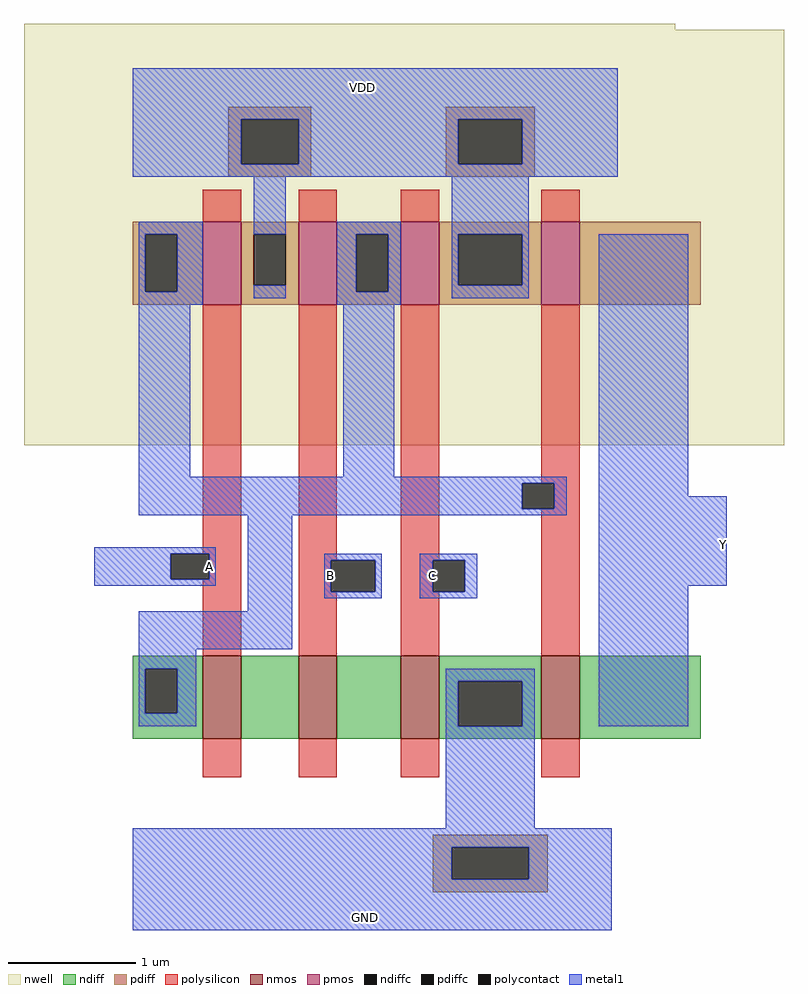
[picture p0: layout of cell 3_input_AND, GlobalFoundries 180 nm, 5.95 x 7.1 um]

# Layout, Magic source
magic
tech gf180mcuD
magscale 1 10
<< nwell >>
rect -430 460 590 470
rect -430 -190 760 460
<< nmos >>
rect -150 -650 -90 -520
rect 0 -650 60 -520
rect 160 -650 220 -520
rect 380 -650 440 -520
<< pmos >>
rect -150 30 -90 160
rect 0 30 60 160
rect 160 30 220 160
rect 380 30 440 160
<< ndiff >>
rect -260 -540 -150 -520
rect -260 -610 -240 -540
rect -190 -610 -150 -540
rect -260 -650 -150 -610
rect -90 -650 0 -520
rect 60 -650 160 -520
rect 220 -560 380 -520
rect 220 -630 250 -560
rect 350 -630 380 -560
rect 220 -650 380 -630
rect 440 -650 630 -520
<< pdiff >>
rect -110 320 20 340
rect -110 250 -90 320
rect 0 250 20 320
rect -110 230 20 250
rect 230 320 370 340
rect 230 250 250 320
rect 350 250 370 320
rect 230 230 370 250
rect -260 140 -150 160
rect -260 50 -240 140
rect -190 50 -150 140
rect -260 30 -150 50
rect -90 140 0 160
rect -90 60 -70 140
rect -20 60 0 140
rect -90 30 0 60
rect 60 140 160 160
rect 60 50 90 140
rect 140 50 160 140
rect 60 30 160 50
rect 220 140 380 160
rect 220 60 250 140
rect 350 60 380 140
rect 220 30 380 60
rect 440 30 630 160
rect 210 -820 390 -800
rect 210 -870 240 -820
rect 360 -870 390 -820
rect 210 -890 390 -870
<< ndiffc >>
rect -240 -610 -190 -540
rect 250 -630 350 -560
<< pdiffc >>
rect -90 250 0 320
rect 250 250 350 320
rect -240 50 -190 140
rect -70 60 -20 140
rect 90 50 140 140
rect 250 60 350 140
rect 240 -870 360 -820
<< polysilicon >>
rect -150 160 -90 210
rect 0 160 60 210
rect 160 160 220 210
rect 380 160 440 210
rect -150 -360 -90 30
rect -140 -400 -90 -360
rect -150 -520 -90 -400
rect 0 -370 60 30
rect 160 -370 220 30
rect 380 -250 440 30
rect 400 -290 440 -250
rect 0 -420 50 -370
rect 160 -420 210 -370
rect 0 -520 60 -420
rect 160 -520 220 -420
rect 380 -520 440 -290
rect -150 -710 -90 -650
rect 0 -710 60 -650
rect 160 -710 220 -650
rect 380 -710 440 -650
<< polycontact >>
rect -200 -400 -140 -360
rect 350 -290 400 -250
rect 50 -420 120 -370
rect 210 -420 260 -370
<< metal1 >>
rect -260 320 500 400
rect -260 250 -90 320
rect 0 250 250 320
rect 350 250 500 320
rect -260 230 500 250
rect -250 140 -150 160
rect -250 50 -240 140
rect -190 50 -150 140
rect -250 30 -150 50
rect -70 140 -20 230
rect -70 40 -20 60
rect 60 140 160 160
rect 60 50 90 140
rect 140 50 160 140
rect 60 30 160 50
rect 240 140 360 230
rect 240 60 250 140
rect 350 60 360 140
rect 240 40 360 60
rect -250 -240 -170 30
rect 70 -240 150 30
rect -250 -250 420 -240
rect -250 -290 350 -250
rect 400 -290 420 -250
rect -250 -300 420 -290
rect 470 -270 610 140
rect -320 -360 -130 -350
rect -320 -400 -200 -360
rect -140 -400 -130 -360
rect -320 -410 -130 -400
rect -80 -450 -10 -300
rect 40 -370 130 -360
rect 40 -420 50 -370
rect 120 -420 130 -370
rect 40 -430 130 -420
rect 190 -370 280 -360
rect 190 -420 210 -370
rect 260 -420 280 -370
rect 190 -430 280 -420
rect 470 -410 670 -270
rect -250 -510 -10 -450
rect -250 -540 -160 -510
rect -250 -610 -240 -540
rect -190 -610 -160 -540
rect -250 -630 -160 -610
rect 230 -560 370 -540
rect 230 -630 250 -560
rect 350 -630 370 -560
rect 470 -630 610 -410
rect 230 -790 370 -630
rect -260 -820 490 -790
rect -260 -870 240 -820
rect 360 -870 490 -820
rect -260 -950 490 -870
<< labels >>
flabel metal1 -80 370 280 370 0 FreeSans 480 0 0 0 VDD
flabel metal1 -160 -930 370 -930 1 FreeSans 480 0 0 0 GND
flabel metal1 -140 -400 -140 -360 7 FreeSans 480 0 0 0 A
flabel metal1 50 -420 50 -370 3 FreeSans 480 0 0 0 B
flabel metal1 210 -420 210 -370 3 FreeSans 480 0 0 0 C
flabel metal1 660 -410 670 -280 7 FreeSans 480 0 0 0 Y
<< end >>
